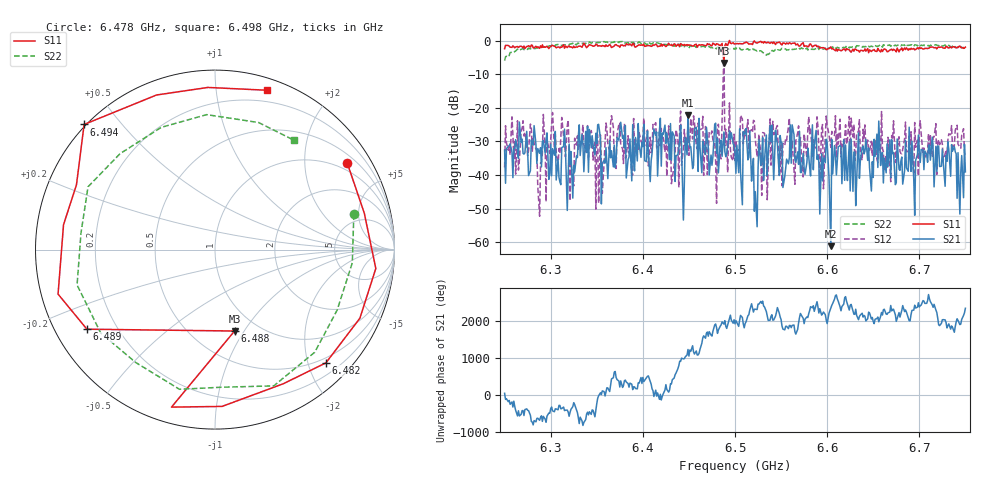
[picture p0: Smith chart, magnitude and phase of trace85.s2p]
# Hz S RI R 50
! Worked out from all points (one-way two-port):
!   401 points, 6.25 GHz to 6.75 GHz, reference 50 ohm
!   highest |S21| = -22.09 dB at 6.449 GHz (marker M1); lowest = -61.2 dB at 6.604 GHz (marker M2)
!   lowest |S11| = -6.6 dB at 6.488 GHz (marker M3), VSWR 2.75, Z = 39.1 - j45.4 ohm
!   |S11| at or under -10 dB: nowhere
!   |S22| runs from -6.0 to -0.2 dB; largest |S21 - S12| = 0.66
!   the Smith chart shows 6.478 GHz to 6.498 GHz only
!   S11 on the Smith chart (normalised r, x): 6.478 GHz: 0.74, +3.19; 6.482 GHz: 0.40, -2.32; 6.488 GHz: 0.78, -0.91; 6.489 GHz: 0.09, -0.28; 6.494 GHz: -0.01, +0.40; 6.498 GHz: 0.10, +1.37
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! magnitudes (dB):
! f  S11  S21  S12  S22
! 6.25 GHz  -2.4  -32.6  -37.8  -6.0
! 6.27 GHz  -2.1  -33.6  -23.8  -2.3
! 6.289 GHz  -1.5  -31.9  -36.4  -1.7
! 6.315 GHz  -2.2  -26.3  -29.0  -1.2
! 6.322 GHz  -1.8  -33.0  -36.2  -1.0
! 6.334 GHz  -1.9  -28.1  -28.2  -0.8
! 6.418 GHz  -1.7  -26.8  -27.1  -0.8
! 6.449 GHz  -1.4  -22.1  -25.9  -1.5
! 6.478 GHz  -1.1  -24.9  -30.2  -2.0
! 6.482 GHz  -1.1  -39.4  -24.9  -1.7
! 6.488 GHz  -6.6  -27.2  -3.1  -2.1
! 6.489 GHz  -1.5  -33.1  -31.3  -2.0
! 6.494 GHz  0.1  -26.9  -18.5  -2.6
! 6.498 GHz  -0.6  -30.8  -35.7  -2.5
! 6.5 GHz  -1.0  -33.5  -35.7  -2.5
! 6.514 GHz  -0.7  -35.5  -23.5  -2.4
! 6.522 GHz  -0.5  -45.0  -29.5  -2.8
! 6.539 GHz  -0.5  -30.1  -37.1  -3.7
! 6.584 GHz  -1.8  -25.1  -34.4  -2.6
! 6.604 GHz  -1.9  -61.2  -31.8  -2.0
! 6.668 GHz  -2.8  -29.5  -36.6  -1.3
! 6.75 GHz  -1.9  -39.1  -34.0  -2.6
